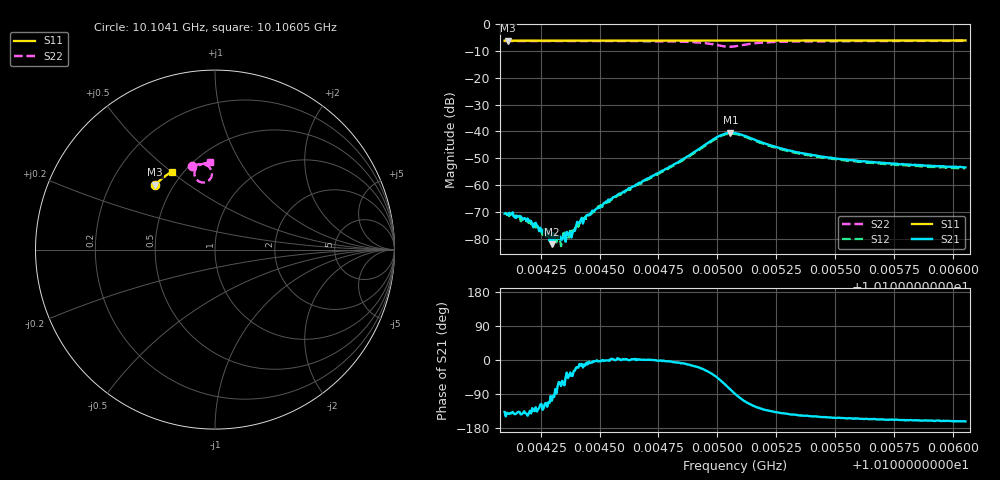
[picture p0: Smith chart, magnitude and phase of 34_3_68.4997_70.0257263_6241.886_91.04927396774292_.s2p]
#  HZ  S  RI  R  50.00
! Rohde & Schwarz Vector Network Analyzer
! Rohde-Schwarz,ZNB20-2Port,1311601062101988,3.16
! Created: UTC 3/20/2024, 4:50:04 PM
! freq[Hz]  re:S11  im:S11  re:S21  im:S21  re:S12  im:S12  re:S22  im:S22
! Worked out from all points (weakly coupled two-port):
!   401 points, 10.1041 GHz to 10.10605 GHz, reference 50 ohm
!   highest |S21| = -40.51 dB at 10.10506 GHz (marker M1); lowest = -82.0 dB at 10.1043 GHz (marker M2)
!   lowest |S11| = -6.2 dB at 10.10411 GHz (marker M3), VSWR 2.93, Z = 19.9 + j18.9 ohm
!   |S11| at or under -10 dB: nowhere
!   |S22| runs from -8.4 to -6.2 dB; largest |S21 - S12| = 0.00096
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1.0104097e10  -0.3344 0.3604  -0.000215 -0.000199  -0.000218 -0.000216  -0.128 0.4669
1.0104112e10  -0.3337 0.361  -0.000218 -0.000173  -0.000214 -0.000194  -0.127 0.4671
1.01042e10  -0.3298 0.3649  -0.000162 -0.000133  -0.000125 -0.00015  -0.1204 0.4689
1.0104297e10  -0.3257 0.3691  -2.36e-05 -7.55e-05  -3.21e-05 -0.000102  -0.113 0.4708
1.0104312e10  -0.3249 0.3697  2.81e-05 -0.000118  3.17e-05 -0.000102  -0.1118 0.4711
1.0104332e10  -0.3241 0.3706  5.57e-05 -9.46e-05  2.72e-05 -9.39e-05  -0.1102 0.4715
1.0104361e10  -0.3227 0.3718  0.000112 -7.36e-05  8.96e-05 -7.38e-05  -0.1077 0.472
1.0104376e10  -0.3221 0.3723  0.000113 -7.33e-05  0.000141 -6.43e-05  -0.1066 0.4722
1.010439e10  -0.3215 0.3731  0.000124 -6.81e-05  0.000126 -5.88e-05  -0.1054 0.4726
1.0104415e10  -0.3205 0.3739  0.000194 -3.6e-05  0.00019 -2.9e-05  -0.1033 0.4729
1.0104425e10  -0.3201 0.3743  0.000241 -4.34e-05  0.000202 -2.97e-05  -0.1024 0.4731
1.0104498e10  -0.3166 0.3773  0.000377 -1.84e-05  0.000393 3.72e-05  -0.0958 0.4743
1.0104576e10  -0.3131 0.3807  0.000654 5.7e-05  0.000638 6.89e-05  -0.088 0.4753
1.0104752e10  -0.305 0.3877  0.0017 -5.56e-05  0.00165 7.06e-05  -0.0653 0.4749
1.0104904e10  -0.2977 0.3936  0.004 -0.00118  0.00394 -0.000786  -0.0323 0.4593
1.0104997e10  -0.2931 0.3967  0.00547 -0.00543  0.00569 -0.00474  -0.019 0.4086
1.0105055e10  -0.2906 0.3988  0.00196 -0.00923  0.0027 -0.00866  -0.0628 0.3739
1.0105075e10  -0.2899 0.3994  0.000126 -0.00932  0.000934 -0.00891  -0.083 0.3769
1.0105261e10  -0.2813 0.4066  -0.00377 -0.00325  -0.0033 -0.00343  -0.102 0.4563
1.0105402e10  -0.2744 0.4118  -0.0031 -0.00187  -0.00279 -0.00211  -0.0829 0.4716
1.010573e10  -0.258 0.4233  -0.00236 -0.000984  -0.00215 -0.00112  -0.0515 0.4823
1.0106053e10  -0.2415 0.4339  -0.00203 -0.000661  -0.00187 -0.000794  -0.0268 0.4866
